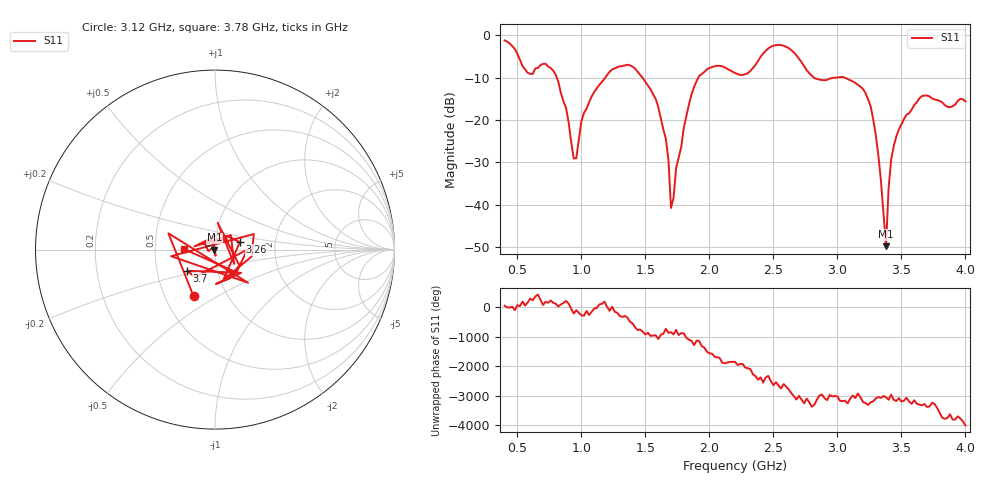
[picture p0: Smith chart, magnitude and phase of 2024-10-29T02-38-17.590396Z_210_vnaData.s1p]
!Created with skrf (http://scikit-rf.org).
# Hz S RI R 50.0
!freq ReS11 ImS11
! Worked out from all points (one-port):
!   181 points, 400 MHz to 4 GHz, reference 50 ohm
!   lowest |S11| = -49.8 dB at 3.38 GHz (marker M1), VSWR 1.01, Z = 49.7 - j0.0325 ohm
!   |S11| at or under -10 dB: 808 MHz to 1.186 GHz (378.3 MHz wide, 37.9 % of centre); 1.477 GHz to 1.913 GHz (436.3 MHz wide, 25.7 % of centre); 3.058 GHz to end of sweep (the widest 3 of 4)
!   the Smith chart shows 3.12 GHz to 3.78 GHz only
!   S11 on the Smith chart (normalised r, x): 3.12 GHz: 0.70, -0.39; 3.26 GHz: 1.32, +0.11; 3.7 GHz: 0.71, -0.17; 3.78 GHz: 0.71, +0.00
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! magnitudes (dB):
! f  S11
! 400 MHz  -1.2
! 580 MHz  -8.8
! 780 MHz  -8.3
! 860 MHz  -15.6
! 960 MHz  -29.0
! 1 GHz  -20.2
! 1.08 GHz  -14.4
! 1.3 GHz  -7.3
! 1.58 GHz  -15.0
! 1.66 GHz  -24.5
! 1.7 GHz  -40.8
! 1.76 GHz  -28.8
! 1.92 GHz  -9.6
! 2.2 GHz  -8.9
! 2.5 GHz  -2.4
! 2.66 GHz  -4.0
! 2.82 GHz  -10.1
! 3.1 GHz  -10.6
! 3.12 GHz  -10.9
! 3.26 GHz  -16.8
! 3.32 GHz  -28.3
! 3.38 GHz  -49.8
! 3.4 GHz  -36.1
! 3.42 GHz  -29.4
! 3.56 GHz  -18.4
! 3.7 GHz  -14.2
! 3.78 GHz  -15.3
! 4 GHz  -15.6
